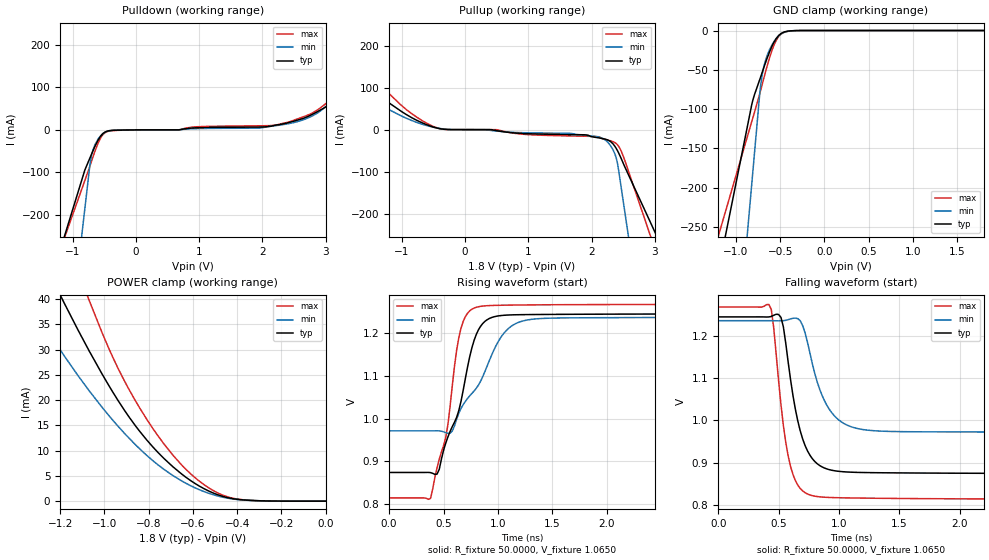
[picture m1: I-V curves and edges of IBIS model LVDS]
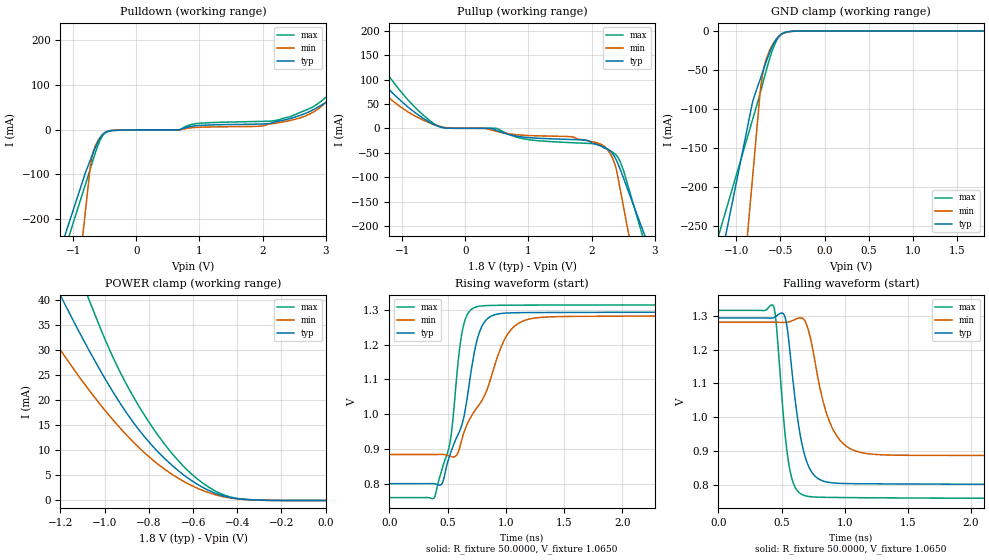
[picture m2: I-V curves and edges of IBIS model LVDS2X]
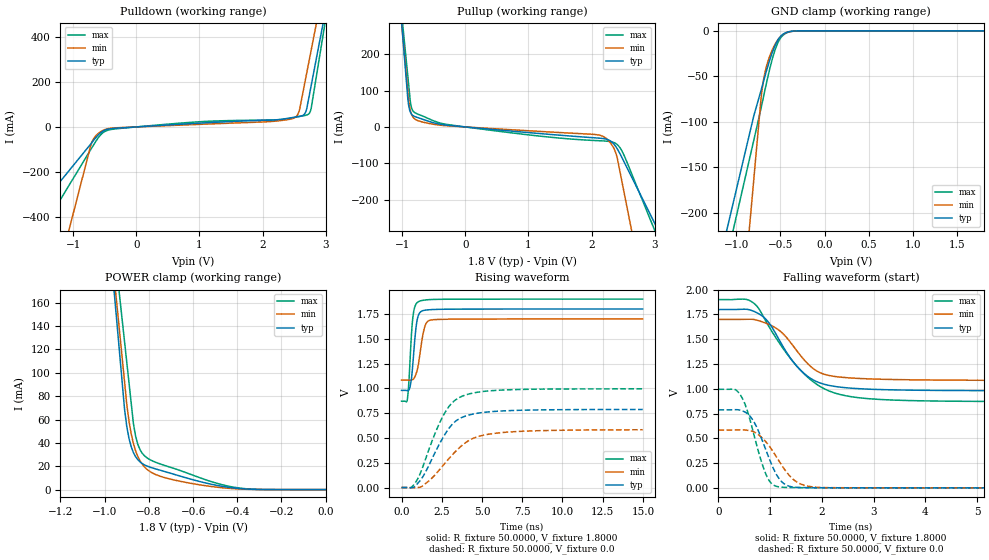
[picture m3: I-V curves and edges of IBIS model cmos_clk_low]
| TEXAS INSTRUMENTS INCORPORATED
| High Performance Analog Group
| IBIS Model for ads41xx series of A/D converters
| This file provides unique models under the [Model Selector] for each
| load condition.
| For operation at a specific load condition, select the appropriate model
|after each [Model Selector] keyword.
[IBIS ver]   3.2
[File name]   ads41xx.ibs
[File Rev]   1.0
[Date]   25 Sep 2009
[Source]   Texas Instruments Incorporated.
|   Data created from TI-SPICE simulations
[Notes]   This file contains IBIS Model of various buffers of
   ads41xx series of A/D converters, generated with r_fixture of
   50 ohm ( 100 ohm differential )
[Disclaimer]
 This product is designed as an aid for customers of Texas Instruments.
 No warranties, either expressed or implied, with respect to this third
 party software (if any) or with respect to its fitness for any
 particular purpose is claimed by Texas Instruments or the author. The
 software (if any) is provided solely on an "as is" basis. The entire
 risk as to its quality and performance is with the customer
[Copyright] (C) Copyright 2010 Texas Instruments Incorporated.
   All rights reserved.
|   Component ads41xx
[Component]   ads41xx
[Manufacturer]   Texas Instruments
[Package]
| variable   typ   min   max
R_pkg   0.1600   0.1440   0.1760
L_pkg   4.0000nH   3.6000nH   4.4000nH
C_pkg   2.0000pF   1.8000pF   2.2000pF
[Pin]   signal_name   model_name   R_pin   L_pin   C_pin
|   (ohms)   (nH)   (pF)
1   DRGND   GND
2   DRVDD   POWER
3   OVR_SDOUT   cmos_obuf_data
4   CLKOUTM   clockoutput
5   CLKOUTP   clockoutput
|6   DFS   dummy
|7   OE   dummy
8   AVDD   POWER
9   AGND   POWER
10   CLKP   input
11   CLKM   input
12   AGND   GND
|13   VCM   dummy
14   AGND   GND
|15   INP   dummy
|16   INM   dummy
17   AGND   GND
18   AVDD   POWER
19   AGND   GND
20   AVDD   POWER
|21   NC   dummy
22   AVDD   POWER
|23   MODE   dummy
24   AVDD   POWER
25   AGND   GND
26   AVDD   POWER
|27   SEN   dummy
|28   SDATA   dummy
|29   SCLK   dummy
|30   RESET   dummy
31   NC   NC
32   NC   NC
33   D0/D0_D1M   dataoutput
34   D1/D0_D1P   dataoutput
35   DRVDD   POWER
36   DRGND   GND
37   D2/D2_D3M   dataoutput
38   D3/D2_D3P   dataoutput
39   D4/D4_D5M   dataoutput
40   D5/D4_D5P   dataoutput
41   D6/D6_D7M   dataoutput
42   D7/D6_D7P   dataoutput
43   D8/D8_D9M   dataoutput
44   D9/D8_D9P   dataoutput
45   D10/D10_D11M   dataoutput
46   D11/D10_D11P   dataoutput
47   D12/D12_D13M   dataoutput
48   D13/D12_D13P   dataoutput
[Diff Pin]   inv_pin   vdiff   tdelay_typ   tdelay_min   tdelay_max
  4   5   350mV   0   0   0
  34   33   350mV   0   0   0
  38   37   350mV   0   0   0
  40   39   350mV   0   0   0
  42   41   350mV   0   0   0
  44   43   350mV   0   0   0
  46   45   350mV   0   0   0
  48   47   350mV   0   0   0
[Series Pin Mapping]  pin_2   model_name   function_table_group
  11   10   series_cap
[Model Selector] clockoutput
|The clock output can be in lvds mode or cmos mode. In lvds mode the
|clock signal is a differential signal between pins CLKOUTP and CLKOUTM
|and in cmos mode its a single ended signal at pin CLKOUTP only.
|Note that the model for cmos buffer is different for data and clock output
|buffers whereas the model for the lvds buffer is the same
|  Model name   Description
LVDS   LVDS 3-state buffer.
LVDS2X   LVDS 3-state buffer with 2X strength.
cmos_clk_low   CMOS 3-state (low strength) buffer.
cmos_clk_low1   CMOS 3-state (low1 strength) buffer.
cmos_clk_high   CMOS 3-state (high strength) buffer.
cmos_clk_high1   CMOS 3-state (high1 strength) buffer.
[Model Selector] dataoutput
|Note that the model for cmos buffer is different for data and clock output
|buffers whereas lvds buffer is the same
|  Model name   Description
LVDS   LVDS 3-state buffer.
LVDS2X   LVDS 3-state buffer with 2X strength.
cmos_data_low   CMOS 3-state (low strength) buffer.
cmos_data_low1   CMOS 3-state (low1 strength) buffer.
cmos_data_high   CMOS 3-state (high strength) buffer.
cmos_data_high1   CMOS 3-state (high1 strength) buffer.
[Model Selector] cmos_obuf_data
|Note that the model for cmos buffer is different for data and clock output
|buffers whereas lvds buffer is the same
|  Model name   Description
cmos_data_low   CMOS 3-state (low strength) buffer.
cmos_data_low1   CMOS 3-state (low1 strength) buffer.
cmos_data_high   CMOS 3-state (high strength) buffer.
cmos_data_high1   CMOS 3-state (high1 strength) buffer.
|   Model series_cap
[Model]   series_cap
Model_type   Series
C_comp   0.20pF   0.18pF   0.220pF
[Temperature Range]   27.00   125.00   -40.00
[Voltage Range]   1.80V   1.70V   1.90V
[C Series]   3.6pF   3.3pF  3.9pF
| End [Model] series_cap
|End [Component] ads41xx
| Models and submodels in the file (12): LVDS (3-state), LVDS2X (3-state), cmos_clk_low (3-state), cmos_clk_low1 (3-state), cmos_clk_high (3-state), cmos_clk_high1 (3-state), cmos_data_low (3-state), cmos_data_low1 (3-state), cmos_data_high (3-state), cmos_data_high1 (3-state), input (Terminator), series_cap (Series)
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|   Model LVDS
[Model]  LVDS
Model_type 3-state
Polarity   Non-Inverting
Enable   Active-Low
Vmeas = 1.065V
Cref = 5.0000pF
Rref = 50.0000
Vref = 1.065V
C_comp   2.2000pF   2.0000pF   2.4000pF
[Temperature Range]   25.0000   0.1250k   -40.0000
[Voltage Range]   1.8000V   1.7000V   1.9000V
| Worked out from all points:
|   slope of the pulldown table from 0 to 0.27 V, typ, clamps not added: 2.09 kohm
|   slope of the pullup table from 0 to 0.27 V, typ, clamps not added: 19.8 kohm
|   GND clamp passes 1 mA (typ) near -0.42 V on its own axis
|   POWER clamp passes 1 mA (typ) near -0.47 V on its own axis
|   rising waveform, R_fixture 50.0000, V_fixture 1.0650: 20-80 % time 239ps typ, 353ps min, 171ps max; typ from 0.874 V to 1.25 V
|   falling waveform, R_fixture 50.0000, V_fixture 1.0650: 20-80 % time 145ps typ, 183ps min, 115ps max; typ from 1.25 V to 0.874 V
[Pulldown]
|Voltage   I(typ)   I(min)   I(max)
-1.8V     -573mA     -1.461A    -533.1mA
-810mV    -94.95mA   -186.3mA   -119.6mA
-730mV    -66.66mA   -83.27mA   -85.88mA
-680mV    -49.27mA   -46.93mA   -63.56mA
-570mV    -17.18mA   -16.04mA   -21.95mA
-460mV    -3.565mA   -3.744mA   -4.641mA
2.14V     8.453mA    8.285mA    9.976mA
2.69V     29.34mA    25.89mA    32.85mA
3.08V     59.8mA     67.4mA     70.71mA
3.15V     64.94mA    86.8mA     79.08mA
3.37V     96.85mA    188.2mA    102mA
3.6V      145.7mA    294.8mA    125.5mA
[Pullup]
|Voltage   I(typ)   I(min)   I(max)
-1.8V     134.2mA    249.1mA    177.6mA
-1.46V    93.73mA    90.29mA    125.5mA
-1.3V     74.94mA    57mA       101mA
-840mV    28.4mA     21.8mA     37.9mA
-400mV    2.545mA    3.108mA    2.645mA
1.67V     -11.52mA   -8.772mA   -14.8mA
2.17V     -20.9mA    -20.09mA   -21.51mA
2.3V      -27.99mA   -37.7mA    -26.34mA
2.39V     -44.22mA   -66.63mA   -32.8mA
2.43V     -55.47mA   -97.42mA   -39.42mA
2.52V     -86.2mA    -188.7mA   -70.02mA
3.6V      -438.5mA   -1.285A    -548.9mA
[GND_clamp]
|Voltage   I(typ)   I(min)   I(max)
-1.8V     -644.2mA   -1.444A    -493.9mA
-820mV    -93.96mA   -194.4mA   -115.6mA
-730mV    -62.28mA   -79.59mA   -80.23mA
-720mV    -58.98mA   -69.41mA   -75.99mA
-700mV    -52.31mA   -54.38mA   -67.41mA
-670mV    -42.41mA   -39.65mA   -54.64mA
-620mV    -27.2mA    -24.38mA   -34.87mA
-550mV    -11.15mA   -11.01mA   -13.8mA
-490mV    -3.867mA   -4.474mA   -4.534mA
-420mV    -941.3uA   -1.223mA   -1.169mA
-290mV    -42.52uA   -65.45uA   -73.57uA
1.8V      5.758nA    683.2nA    1.459nA
[POWER_clamp]
|Voltage   I(typ)   I(min)   I(max)
-1.8V     132.7mA    318.5mA    134.1mA
-1.32V    51.78mA    38.91mA    70.46mA
-1.26V    46.2mA     34.09mA    62.77mA
-1.18V    39.07mA    28.66mA    52.85mA
-1.07V    29.83mA    21.92mA    39.87mA
-940mV    20.04mA    14.91mA    26.44mA
-840mV    13.79mA    10.33mA    18.41mA
-730mV    8.407mA    6.259mA    11.26mA
-590mV    3.479mA    2.626mA    4.624mA
-490mV    1.299mA    1.039mA    1.675mA
-410mV    423.1uA    368.9uA    490.9uA
0V        5.758nA    60.92nA    1.932nA
[Ramp]
| variable   typ   min   max
dV/dt_r  0.6908/0.1782n   0.6769/0.2895n   0.6959/0.1276n
dV/dt_f  0.4915/0.2892n   0.4375/0.5015n   0.5288/0.1958n
R_load = 1.0000k
[Rising Waveform]
R_fixture= 50.0000
V_fixture= 1.0650
V_fixture_min= 1.1050
V_fixture_max= 1.0450
|time   V(typ)   V(min)   V(max)
0s        873.7mV    971.1mV    814.1mV
380ps     873.4mV    971.1mV    813mV
440ps     869.8mV    971.3mV    884.5mV
520ps     942.6mV    966.9mV    955.9mV
660ps     1.04V      1.024V     1.211V
780ps     1.183V     1.064V     1.258V
880ps     1.228V     1.11V      1.264V
1.1ns     1.242V     1.212V     1.265V
1.48ns    1.244V     1.235V     1.266V
20ns      1.245V     1.24V      1.267V
[Falling Waveform]
R_fixture= 50.0000
V_fixture= 1.0650
V_fixture_min= 1.1050
V_fixture_max= 1.0450
|time   V(typ)   V(min)   V(max)
0s        1.245V     1.236V     1.268V
420ps     1.245V     1.236V     1.274V
460ps     1.249V     1.236V     1.219V
520ps     1.244V     1.236V     1.037V
600ps     1.095V     1.24V      890.4mV
700ps     955.8mV    1.224V     832.9mV
860ps     889.9mV    1.059V     818.5mV
1.06ns    877.9mV    989.8mV    816.5mV
1.48ns    875.7mV    973.5mV    815.2mV
20ns      873.7mV    971.8mV    813.7mV
|   Model LVDS2X
[Model]  LVDS2X
Model_type 3-state
Polarity   Non-Inverting
Enable   Active-Low
Vmeas =   1.065V
Cref =   5.0000pF
Rref = 50.0000
Vref =   1.065V
C_comp   2.2000pF   2.0000pF   2.4000pF
[Temperature Range]   25.0000   0.1250k   -40.0000
[Voltage Range]   1.8000V   1.7000V   1.9000V
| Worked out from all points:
|   slope of the pulldown table from 0 to 0.27 V, typ, clamps not added: 2.03 kohm
|   slope of the pullup table from 0 to 0.27 V, typ, clamps not added: 19.8 kohm
|   GND clamp passes 1 mA (typ) near -0.42 V on its own axis
|   POWER clamp passes 1 mA (typ) near -0.47 V on its own axis
|   rising waveform, R_fixture 50.0000, V_fixture 1.0650: 20-80 % time 203ps typ, 318ps min, 129ps max; typ from 0.8 V to 1.29 V
|   falling waveform, R_fixture 50.0000, V_fixture 1.0650: 20-80 % time 109ps typ, 159ps min, 80.2ps max; typ from 1.29 V to 0.8 V
[Pulldown]
|Voltage   I(typ)   I(min)   I(max)
-1.8V     -527.4mA   -1.476A    -567.3mA
-800mV    -94.35mA   -176.6mA   -120.5mA
-730mV    -69.23mA   -85.64mA   -89.18mA
-680mV    -51.16mA   -48.73mA   -66mA
-570mV    -17.91mA   -16.81mA   -22.99mA
-460mV    -3.786mA   -3.953mA   -5.011mA
2.17V     15.92mA    13.84mA    19.94mA
2.67V     36mA       30.22mA    42.95mA
2.93V     55.03mA    52.16mA    64mA
3.09V     67.74mA    76.4mA     82.89mA
3.28V     89.19mA    146.6mA    104.4mA
3.6V      150.9mA    277.1mA    138.3mA
[Pullup]
|Voltage   I(typ)   I(min)   I(max)
-1.8V     164.1mA    205.8mA    207.3mA
-1.4V     106.3mA    88.37mA    139.5mA
-910mV    44.17mA    34.17mA    58.83mA
-360mV    1.923mA    2.993mA    1.745mA
490mV     -3.746mA   -5.898mA   297.4uA
970mV     -18.36mA   -14.27mA   -22.23mA
1.91V     -23.88mA   -24.71mA   -30.39mA
2.14V     -35.72mA   -31.99mA   -33.78mA
2.25V     -41.72mA   -43.27mA   -42.9mA
2.37V     -59.27mA   -73.32mA   -52.09mA
2.51V     -103.2mA   -163.4mA   -87.7mA
3.6V      -484.1mA   -908.6mA   -573.5mA
[GND_clamp]
|Voltage   I(typ)   I(min)   I(max)
-1.8V     -644.2mA   -1.444A    -493.9mA
-820mV    -93.96mA   -194.4mA   -115.6mA
-730mV    -62.28mA   -79.59mA   -80.23mA
-720mV    -58.98mA   -69.41mA   -75.99mA
-700mV    -52.31mA   -54.38mA   -67.41mA
-670mV    -42.41mA   -39.65mA   -54.64mA
-620mV    -27.2mA    -24.38mA   -34.87mA
-550mV    -11.15mA   -11.01mA   -13.8mA
-490mV    -3.867mA   -4.474mA   -4.534mA
-420mV    -941.3uA   -1.223mA   -1.169mA
-290mV    -42.52uA   -65.45uA   -73.57uA
1.8V      5.758nA    683.2nA    1.459nA
[POWER_clamp]
|Voltage   I(typ)   I(min)   I(max)
-1.8V     132.7mA    318.5mA    134.1mA
-1.32V    51.78mA    38.91mA    70.46mA
-1.26V    46.2mA     34.09mA    62.77mA
-1.18V    39.07mA    28.66mA    52.85mA
-1.07V    29.83mA    21.92mA    39.87mA
-940mV    20.04mA    14.91mA    26.44mA
-840mV    13.79mA    10.33mA    18.41mA
-730mV    8.407mA    6.259mA    11.26mA
-590mV    3.479mA    2.626mA    4.624mA
-490mV    1.299mA    1.039mA    1.675mA
-410mV    423.1uA    368.9uA    490.9uA
0V        5.758nA    60.92nA    1.932nA
[Ramp]
| variable   typ   min   max
dV/dt_r  0.7029/0.1123n   0.6931/0.1790n   0.7073/81.7215p
dV/dt_f  0.5104/0.1586n   0.4630/0.2633n   0.5449/0.1111n
R_load = 1.0000k
[Rising Waveform]
R_fixture= 50.0000
V_fixture= 1.0650
V_fixture_min= 1.1050
V_fixture_max= 1.0450
|time   V(typ)   V(min)   V(max)
0s        799.7mV    883.7mV    759.6mV
390ps     799mV      883.7mV    762mV
450ps     798.8mV    883.9mV    839.1mV
520ps     882.5mV    878.9mV    917.3mV
580ps     934.5mV    883.1mV    1.116V
630ps     978.2mV    936.3mV    1.246V
770ps     1.233V     1.027V     1.311V
1.02ns    1.291V     1.232V     1.313V
1.3ns     1.293V     1.278V     1.314V
10ns      1.294V     1.287V     1.314V
[Falling Waveform]
R_fixture= 50.0000
V_fixture= 1.0650
V_fixture_min= 1.1050
V_fixture_max= 1.0450
|time   V(typ)   V(min)   V(max)
0s        1.294V     1.281V     1.316V
440ps     1.295V     1.281V     1.325V
520ps     1.303V     1.281V     977.3mV
560ps     1.215V     1.282V     853.4mV
640ps     962.3mV    1.294V     775.5mV
710ps     856.8mV    1.26V      764.9mV
820ps     811.7mV    1.059V     762.3mV
900ps     805.2mV    968.6mV    761.8mV
1.2ns     802.2mV    890.7mV    760.9mV
10ns      799.7mV    886.2mV    758.3mV
|   Model cmos_clk_low
[Model]   cmos_clk_low
Model_type 3-state
Polarity   Non-Inverting
Enable   Active-High
Vmeas=0.9
C_comp   2.0750pF   1.9000pF   2.2500pF
[Temperature Range]   25.0000   0.1250k   -40.0000
[Voltage Range]   1.8000V   1.7000V   1.9000V
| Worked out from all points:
|   slope of the pulldown table from 0 to 0.27 V, typ, clamps not added: 57.9 ohm
|   slope of the pullup table from 0 to 0.27 V, typ, clamps not added: 62.7 ohm
|   GND clamp passes 1 mA (typ) near -0.40 V on its own axis
|   POWER clamp passes 1 mA (typ) near -0.39 V on its own axis
|   rising waveform, R_fixture 50.0000, V_fixture 1.8000: 20-80 % time 271ps typ, 366ps min, 229ps max; typ from 0.98 V to 1.8 V
|   rising waveform, R_fixture 50.0000, V_fixture 0.0: 20-80 % time 1.62ns typ, 2.09ns min, 1.55ns max; typ from 0 V to 0.787 V
|   falling waveform, R_fixture 50.0000, V_fixture 1.8000: 20-80 % time 665ps typ, 621ps min, 914ps max; typ from 1.8 V to 0.98 V
|   falling waveform, R_fixture 50.0000, V_fixture 0.0: 20-80 % time 375ps typ, 472ps min, 326ps max; typ from 0.787 V to 0 V
[Pulldown]
|Voltage   I(typ)   I(min)   I(max)
-1.8V     -447.9mA   -1.259A    -599.8mA
-720mV    -75.84mA   -82.09mA   -100.5mA
-640mV    -47.62mA   -39.35mA   -63.99mA
-480mV    -12.56mA   -9.991mA   -17.81mA
870mV     14.65mA    9.956mA    20.57mA
2.48V     41.95mA    37.46mA    40.89mA
2.54V     44.81mA    48.15mA    44.31mA
2.58V     46.65mA    71.23mA    46.39mA
2.67V     59.25mA    197.2mA    50.79mA
2.72V     110.6mA    269.2mA    55.5mA
2.77V     183.8mA    341.1mA    82.43mA
3.6V      1.4A       1.535A     1.518A
[Pullup]
|Voltage   I(typ)   I(min)   I(max)
-1.8V     1.985A     1.8A       1.7A
-910mV    78.41mA    98.35mA    140.6mA
-890mV    53.38mA    64.8mA     105.5mA
-860mV    37.57mA    39.26mA    59.46mA
-780mV    27.41mA    19.76mA    37.54mA
-260mV    4.234mA    2.841mA    6.131mA
2.16V     -31.57mA   -24.52mA   -38.3mA
2.28V     -36.75mA   -39.86mA   -39.94mA
2.38V     -53.19mA   -69.91mA   -45.29mA
2.47V     -80.69mA   -141.1mA   -62.92mA
2.55V     -108.6mA   -211.4mA   -92.55mA
3.6V      -474.3mA   -1.134A    -541.5mA
[GND_clamp]
|Voltage   I(typ)   I(min)   I(max)
-1.8V     -504.9mA   -1.25A     -544.4mA
-800mV    -93.26mA   -162.7mA   -120.1mA
-720mV    -66.05mA   -75.75mA   -85.86mA
-710mV    -62.52mA   -66.95mA   -81.33mA
-690mV    -55.42mA   -53.64mA   -72.21mA
-670mV    -48.38mA   -43.99mA   -63.13mA
-620mV    -31.88mA   -27.59mA   -41.68mA
-560mV    -16.06mA   -14.66mA   -20.84mA
-500mV    -6.385mA   -6.497mA   -8.199mA
-450mV    -2.54mA    -2.796mA   -3.339mA
-270mV    -23.71uA   -42.25uA   -40.76uA
1.8V      5.785nA    96.42nA    1.725nA
[POWER_clamp]
|Voltage   I(typ)   I(min)   I(max)
-1.8V     1.973A     1.793A     1.681A
-1.07V    411.1mA    397.9mA    406mA
-910mV    68.83mA    92.21mA    126.6mA
-900mV    54.09mA    73.1mA     109.1mA
-890mV    43.87mA    58.68mA    91.62mA
-870mV    31.74mA    39.51mA    56.69mA
-860mV    28.17mA    33.2mA     45.72mA
-840mV    23.7mA     24.62mA    34.17mA
-810mV    20.28mA    17.58mA    27.37mA
-690mV    13.32mA    8.432mA    18.33mA
-420mV    1.498mA    832.7uA    2.21mA
0V        5.785nA    -260.3nA   2.441nA
[Ramp]
| variable   typ   min   max
dV/dt_r  0.4724/1.6158n   0.3497/2.0856n   0.5971/1.5539n
dV/dt_f  0.4921/0.6643n   0.3700/0.6206n   0.6176/0.9136n
R_load = 50.0000
[Rising Waveform]
R_fixture= 50.0000
V_fixture= 1.8000
V_fixture_min= 1.7000
V_fixture_max= 1.9000
|time   V(typ)   V(min)   V(max)
0s        979.9mV    1.084V     870.8mV
345ps     978.1mV    1.083V     874.3mV
525ps     1.013V     1.083V     1.269V
630ps     1.117V     1.085V     1.575V
735ps     1.312V     1.094V     1.754V
915ps     1.632V     1.152V     1.854V
1.11ns    1.757V     1.308V     1.879V
1.44ns    1.788V     1.62V      1.89V
1.845ns   1.794V     1.69V      1.896V
14.99ns   1.8V       1.7V       1.9V
[Rising Waveform]
R_fixture= 50.0000
V_fixture= 0.0
V_fixture_min= 0.0
V_fixture_max= 0.0
|time   V(typ)   V(min)   V(max)
0s        764nV      32.99uV    2.877nV
570ps     -2.247mV   -162.5uV   -755.1uV
900ps     23.21mV    -1.094mV   58.74mV
1.665ns   212.1mV    62.44mV    366.8mV
2.61ns    512.9mV    228.4mV    730.2mV
3.15ns    637.1mV    328.9mV    855mV
3.795ns   709.9mV    429.8mV    922.7mV
4.755ns   750.2mV    513.8mV    961.9mV
6.36ns    773.3mV    556.1mV    983.9mV
14.99ns   787.4mV    582.9mV    995.1mV
[Falling Waveform]
R_fixture= 50.0000
V_fixture= 1.8000
V_fixture_min= 1.7000
V_fixture_max= 1.9000
|time   V(typ)   V(min)   V(max)
0s        1.8V       1.7V       1.9V
660ps     1.787V     1.701V     1.873V
930ps     1.694V     1.66V      1.67V
1.185ns   1.484V     1.585V     1.456V
1.44ns    1.276V     1.435V     1.274V
1.695ns   1.138V     1.27V      1.131V
2.04ns    1.046V     1.148V     1.002V
2.655ns   1.003V     1.106V     913.6mV
4.755ns   982.1mV    1.086V     873.7mV
14.99ns   979.8mV    1.083V     870.7mV
[Falling Waveform]
R_fixture= 50.0000
V_fixture= 0.0
V_fixture_min= 0.0
V_fixture_max= 0.0
|time   V(typ)   V(min)   V(max)
0s        787.3mV    583.9mV    994.8mV
360ps     788.9mV    584.6mV    978.1mV
495ps     769.7mV    584.4mV    866.8mV
600ps     728.8mV    577.6mV    704.4mV
750ps     600.3mV    544.9mV    409.4mV
930ps     364.3mV    456.4mV    122.8mV
1.185ns   84.14mV    259.2mV    9.039mV
1.515ns   4.787mV    59.26mV    2.288mV
1.98ns    1.396mV    3.629mV    804.1uV
14.99ns   653nV      33.01uV    -45.92nV
